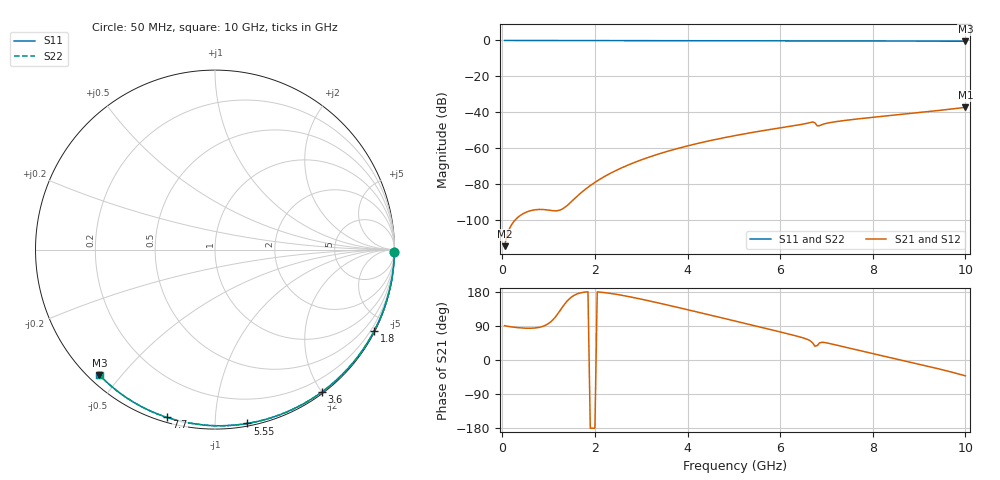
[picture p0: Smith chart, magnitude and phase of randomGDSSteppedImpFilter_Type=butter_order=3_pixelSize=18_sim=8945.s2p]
! freq	dB(S11)	phase(S11)	dB(S12)	phase(S12)
!  dB(S21)	phase(S21)	dB(S22)	phase(S22)
!S-par simulation data
#  GHz  S  DB  R 50
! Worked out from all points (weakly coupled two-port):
!   200 points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, 50 MHz to 10 GHz, reference 50 ohm
!   highest |S21| = -37.27 dB at 10 GHz (marker M1); lowest = -114.5 dB at 50 MHz (marker M2)
!   lowest |S11| = -0.4 dB at 10 GHz (marker M3), VSWR 39.16, Z = 1.52 - j21.9 ohm
!   |S11| at or under -10 dB: nowhere
!   |S22| runs from -0.4 to 0.0 dB; largest |S21 - S12| = 0
!   S11 on the Smith chart (normalised r, x): 50 MHz: open; 1.8 GHz: 0.04, -4.13; 3.6 GHz: 0.02, -2.00; 5.55 GHz: 0.02, -1.20; 7.7 GHz: 0.02, -0.75; 10 GHz: 0.03, -0.44
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0.05  -0.00 -0.8  -114.54 90.6  -114.54 90.6  -0.00 -0.8
0.9  -0.02 -13.7  -94.17 89.9  -94.17 89.9  -0.02 -13.7
1.75  -0.03 -26.5  -83.77 178.7  -83.77 178.7  -0.03 -26.5
1.8  -0.03 -27.2  -82.73 179.5  -82.73 179.5  -0.03 -27.2
1.95  -0.04 -29.4  -79.89 -179.8  -79.89 -179.8  -0.04 -29.4
2.25  -0.04 -33.8  -75.13 177.2  -75.13 177.2  -0.04 -33.8
2.55  -0.05 -38.2  -71.25 171.5  -71.25 171.5  -0.05 -38.2
2.95  -0.06 -44.0  -66.98 161.8  -66.98 161.8  -0.06 -44.0
3.4  -0.07 -50.4  -63.02 149.7  -63.02 149.7  -0.07 -50.4
3.6  -0.07 -53.2  -61.48 144.2  -61.48 144.2  -0.07 -53.2
4.3  -0.09 -62.9  -56.86 124.1  -56.86 124.1  -0.09 -62.8
5.05  -0.11 -72.9  -52.85 102.2  -52.85 102.2  -0.11 -72.9
5.55  -0.13 -79.4  -50.56 87.5  -50.56 87.5  -0.13 -79.4
6.45  -0.17 -90.9  -46.80 60.0  -46.80 60.0  -0.17 -90.8
6.7  -0.18 -94.0  -45.38 45.5  -45.38 45.5  -0.18 -94.0
6.75  -0.19 -94.7  -45.82 36.5  -45.82 36.5  -0.19 -94.6
6.8  -0.20 -95.2  -47.57 37.8  -47.57 37.8  -0.20 -95.2
6.85  -0.20 -95.8  -47.45 45.1  -47.45 45.1  -0.20 -95.7
7.1  -0.21 -98.8  -45.63 42.6  -45.63 42.6  -0.21 -98.8
7.7  -0.24 -106.1  -43.62 25.4  -43.62 25.4  -0.24 -106.0
8.35  -0.29 -113.7  -41.86 7.1  -41.86 7.1  -0.29 -113.7
10  -0.44 -132.7  -37.27 -41.8  -37.27 -41.8  -0.44 -132.6
